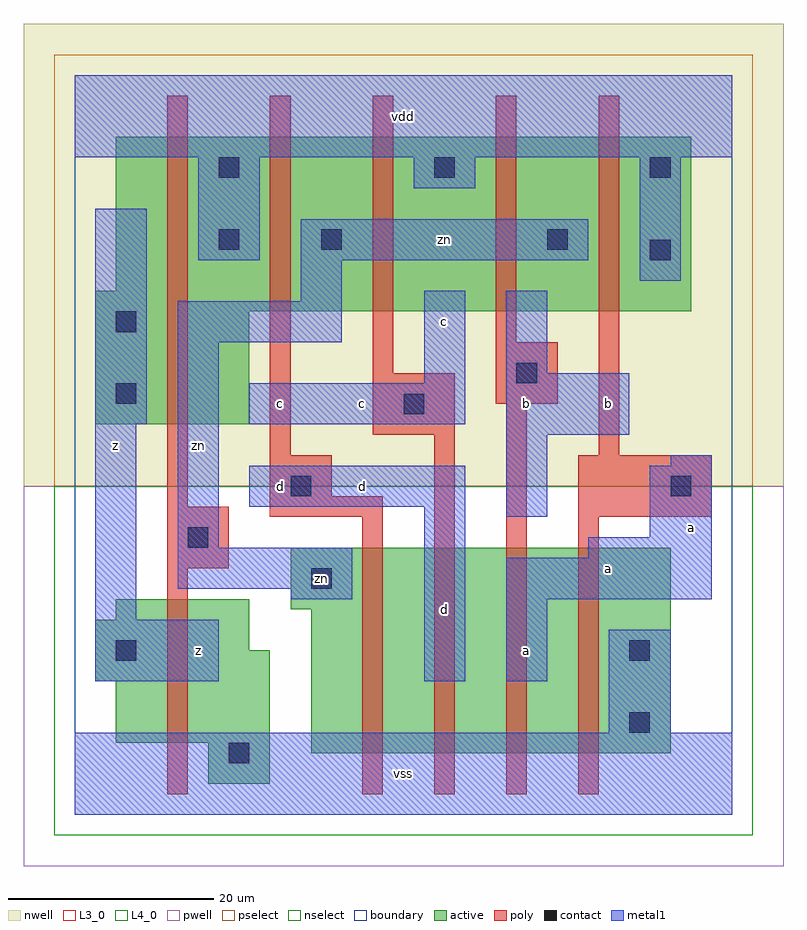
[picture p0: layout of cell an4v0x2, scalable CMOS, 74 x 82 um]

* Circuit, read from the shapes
.subckt an4v0x2 a b c d vdd vss z zn
M1 vss zn z VSUBS nfet w=14u l=2u
M2 n1 d zn VSUBS nfet w=20u l=2u
M3 n2 c n1 VSUBS nfet w=20u l=2u
M4 n3 b n2 VSUBS nfet w=20u l=2u
M5 vss a n3 VSUBS nfet w=20u l=2u
M6 vdd zn z n4 pfet w=28u l=2u
M7 zn d vdd n4 pfet w=17u l=2u
M8 vdd c zn n4 pfet w=17u l=2u
M9 zn b vdd n4 pfet w=17u l=2u
M10 vdd a zn n4 pfet w=17u l=2u
.ends

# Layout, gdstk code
import gdstk
lib = gdstk.Library(unit=1e-6, precision=1e-09)
def R(c, l, rs):  # rectangles x0, y0, x1, y1
    for r in rs: c.add(gdstk.rectangle(r[:2], r[2:], *l))
def A(c, l, x, y, w, h, nx, ny, dx, dy):  # array of equal rectangles
    R(c, l, [(x+i*dx, y+j*dy, x+i*dx+w, y+j*dy+h) for i in range(nx) for j in range(ny)])
L3_0 = (3, 0)
L4_0 = (4, 0)
contact = (25, 0)
pwell = (41, 0)
nwell = (42, 0)
active = (43, 0)
pselect = (44, 0)
nselect = (45, 0)
poly = (46, 0)
metal1 = (49, 0)
boundary = (63, 0)

an4v0x2 = lib.new_cell('an4v0x2')
R(an4v0x2, L3_0, [(13,3,19,7), (23,6,58,20), (4,7,19,13), (2,13,19,16), (2,16,17,19), (4,19,17,21), (21,20,58,26)])
R(an4v0x2, L4_0, [(2,38,17,49), (2,49,60,51), (4,51,60,66)])
A(an4v0x2, contact, 14, 62, 2, 2, 3, 1, 21, 0)
R(an4v0x2, contact, [(15,5,17,7), (54,8,56,10), (4,15,6,17), (54,15,56,17), (23,22,25,24), (11,26,13,28), (21,31,23,33), (58,31,60,33), (32,39,34,41), (4,40,6,42), (43,42,45,44), (4,47,6,49), (56,54,58,56), (14,55,16,57), (24,55,26,57), (46,55,48,57)])
R(an4v0x2, pwell, [(-5,-5,69,32)])
R(an4v0x2, nwell, [(-5,32,69,77)])
R(an4v0x2, active, [(13,3,19,7), (23,6,58,20), (4,7,19,13), (2,13,19,16), (2,16,17,19), (4,19,17,21), (21,20,58,26), (2,38,17,49), (2,49,60,51), (4,51,60,66)])
R(an4v0x2, pselect, [(-2,32,66,74)])
R(an4v0x2, nselect, [(-2,-2,66,32)])
R(an4v0x2, poly, [(9,2,11,24), (28,2,30,29), (35,2,37,37), (42,2,44,40), (49,2,51,29), (9,24,15,30), (19,29,30,31), (49,29,62,35), (9,30,11,70), (19,31,25,35), (19,35,21,70), (51,35,53,70), (29,37,37,43), (41,40,47,46), (29,43,31,70), (41,46,43,70)])
R(an4v0x2, metal1, [(0,0,64,8), (52,8,58,18), (2,13,14,19), (34,13,38,30), (42,13,46,21), (2,19,6,38), (21,21,27,22), (42,21,62,25), (10,22,27,26), (50,25,62,27), (10,26,14,46), (56,27,62,34), (42,29,46,37), (17,30,38,34), (58,34,62,35), (42,37,54,43), (2,38,7,59), (17,38,38,42), (34,42,38,51), (42,43,46,51), (10,46,26,50), (22,50,26,54), (55,52,59,64), (12,54,18,64), (22,54,50,58), (33,61,39,64), (0,64,64,72)])
R(an4v0x2, boundary, [(0,0,64,72)])
an4v0x2.add(gdstk.Label('zn', (12,36), layer=49, texttype=0))
an4v0x2.add(gdstk.Label('zn', (24,23), layer=49, texttype=0))
an4v0x2.add(gdstk.Label('zn', (36,56), layer=49, texttype=0))
an4v0x2.add(gdstk.Label('z', (12,16), layer=49, texttype=0))
an4v0x2.add(gdstk.Label('z', (4,36), layer=49, texttype=0))
an4v0x2.add(gdstk.Label('d', (20,32), layer=49, texttype=0))
an4v0x2.add(gdstk.Label('d', (28,32), layer=49, texttype=0))
an4v0x2.add(gdstk.Label('c', (20,40), layer=49, texttype=0))
an4v0x2.add(gdstk.Label('c', (28,40), layer=49, texttype=0))
an4v0x2.add(gdstk.Label('vss', (32,4), layer=49, texttype=0))
an4v0x2.add(gdstk.Label('a', (44,16), layer=49, texttype=0))
an4v0x2.add(gdstk.Label('d', (36,20), layer=49, texttype=0))
an4v0x2.add(gdstk.Label('b', (44,40), layer=49, texttype=0))
an4v0x2.add(gdstk.Label('c', (36,48), layer=49, texttype=0))
an4v0x2.add(gdstk.Label('vdd', (32,68), layer=49, texttype=0))
an4v0x2.add(gdstk.Label('a', (52,24), layer=49, texttype=0))
an4v0x2.add(gdstk.Label('a', (60,28), layer=49, texttype=0))
an4v0x2.add(gdstk.Label('b', (52,40), layer=49, texttype=0))

lib.write_gds('an4v0x2.gds')
